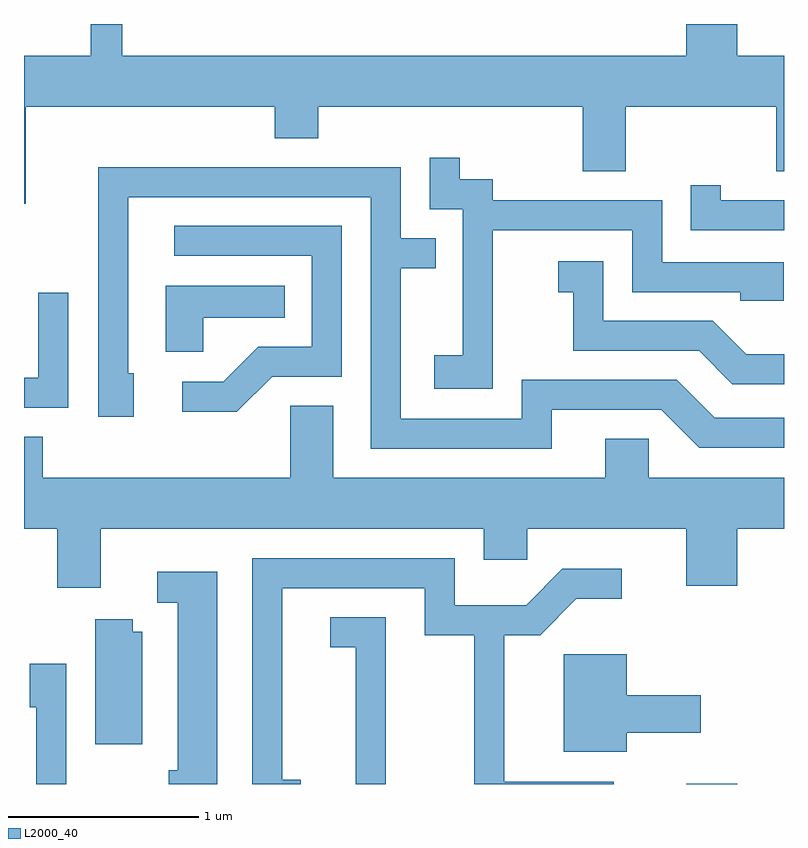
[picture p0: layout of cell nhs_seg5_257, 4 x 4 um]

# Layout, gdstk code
import gdstk
lib = gdstk.Library(unit=1e-6, precision=1e-09)
def R(c, l, rs):  # rectangles x0, y0, x1, y1
    for r in rs: c.add(gdstk.rectangle(r[:2], r[2:], *l))
def P(c, l, *ps):  # polygons
    for p in ps: c.add(gdstk.Polygon(p, *l))
L2000_40 = (2000, 40)

nhs_seg5_257 = lib.new_cell('nhs_seg5_257')
R(nhs_seg5_257, L2000_40, [(195.096,1502.072,195.364,1502.074)])
P(nhs_seg5_257, L2000_40, [(191.619,1505.636),(192.931,1505.636),(192.931,1505.471),(193.159,1505.471),(193.159,1505.636),(194.551,1505.636),(194.551,1505.296),(194.779,1505.296),(194.779,1505.636),(195.571,1505.636),(195.571,1505.296),(195.611,1505.296),(195.611,1505.904),(195.364,1505.904),(195.364,1506.072),(195.096,1506.072),(195.096,1505.904),(192.129,1505.904),(192.129,1506.072),(191.961,1506.072),(191.961,1505.904),(191.611,1505.904),(191.611,1505.126),(191.619,1505.126)],
  [(194.079,1504.986),(194.811,1504.986),(194.811,1504.661),(195.381,1504.661),(195.381,1504.616),(195.609,1504.616),(195.609,1504.819),(194.969,1504.819),(194.969,1505.144),(194.079,1505.144),(194.079,1505.254),(193.904,1505.254),(193.904,1505.368),(193.746,1505.368),(193.746,1505.096),(193.921,1505.096),(193.921,1504.329),(193.771,1504.329),(193.771,1504.151),(194.079,1504.151)],
  [(194.389,1504.041),(194.964,1504.041),(195.164,1503.841),(195.611,1503.841),(195.611,1503.999),(195.247,1503.999),(195.047,1504.199),(194.231,1504.199),(194.231,1503.994),(193.594,1503.994),(193.594,1504.786),(193.778,1504.786),(193.778,1504.944),(193.594,1504.944),(193.594,1505.319),(192.001,1505.319),(192.001,1504.006),(192.189,1504.006),(192.189,1504.234),(192.159,1504.234),(192.159,1505.161),(193.436,1505.161),(193.436,1503.836),(194.389,1503.836)],
  [(195.611,1505.144),(195.279,1505.144),(195.279,1505.223),(195.121,1505.223),(195.121,1504.986),(195.611,1504.986)],
  [(192.917,1504.216),(193.284,1504.216),(193.284,1505.009),(192.403,1505.009),(192.403,1504.851),(193.126,1504.851),(193.126,1504.374),(192.844,1504.374),(192.659,1504.189),(192.443,1504.189),(192.443,1504.031),(192.732,1504.031)],
  [(195.611,1504.334),(195.412,1504.334),(195.237,1504.509),(194.659,1504.509),(194.659,1504.824),(194.423,1504.824),(194.423,1504.661),(194.501,1504.661),(194.501,1504.351),(195.164,1504.351),(195.339,1504.176),(195.611,1504.176)],
  [(192.554,1504.526),(192.983,1504.526),(192.983,1504.694),(192.356,1504.694),(192.356,1504.346),(192.554,1504.346)],
  [(191.844,1504.658),(191.686,1504.658),(191.686,1504.209),(191.611,1504.209),(191.611,1504.051),(191.844,1504.051)],
  [(192.014,1503.416),(194.031,1503.416),(194.031,1503.251),(194.259,1503.251),(194.259,1503.416),(195.096,1503.416),(195.096,1503.116),(195.364,1503.116),(195.364,1503.416),(195.611,1503.416),(195.611,1503.684),(194.899,1503.684),(194.899,1503.889),(194.671,1503.889),(194.671,1503.684),(193.239,1503.684),(193.239,1504.064),(193.011,1504.064),(193.011,1503.684),(191.709,1503.684),(191.709,1503.899),(191.611,1503.899),(191.611,1503.416),(191.786,1503.416),(191.786,1503.106),(192.014,1503.106)],
  [(193.068,1502.094),(192.969,1502.094),(192.969,1503.101),(193.721,1503.101),(193.721,1502.856),(193.981,1502.856),(193.981,1502.072),(194.714,1502.072),(194.714,1502.084),(194.139,1502.084),(194.139,1502.856),(194.327,1502.856),(194.517,1503.046),(194.758,1503.046),(194.758,1503.204),(194.444,1503.204),(194.254,1503.014),(193.879,1503.014),(193.879,1503.259),(192.811,1503.259),(192.811,1502.072),(193.068,1502.072)],
  [(192.629,1503.189),(192.313,1503.189),(192.313,1503.026),(192.421,1503.026),(192.421,1502.144),(192.373,1502.144),(192.373,1502.072),(192.629,1502.072)],
  [(193.514,1502.949),(193.223,1502.949),(193.223,1502.791),(193.356,1502.791),(193.356,1502.072),(193.514,1502.072)],
  [(192.234,1502.874),(192.184,1502.874),(192.184,1502.939),(191.986,1502.939),(191.986,1502.281),(192.234,1502.281)],
  [(194.784,1502.341),(195.174,1502.341),(195.174,1502.539),(194.784,1502.539),(194.784,1502.754),(194.451,1502.754),(194.451,1502.241),(194.784,1502.241)],
  [(191.834,1502.704),(191.641,1502.704),(191.641,1502.476),(191.676,1502.476),(191.676,1502.072),(191.834,1502.072)])

lib.write_gds('nhs_seg5_257.gds')
